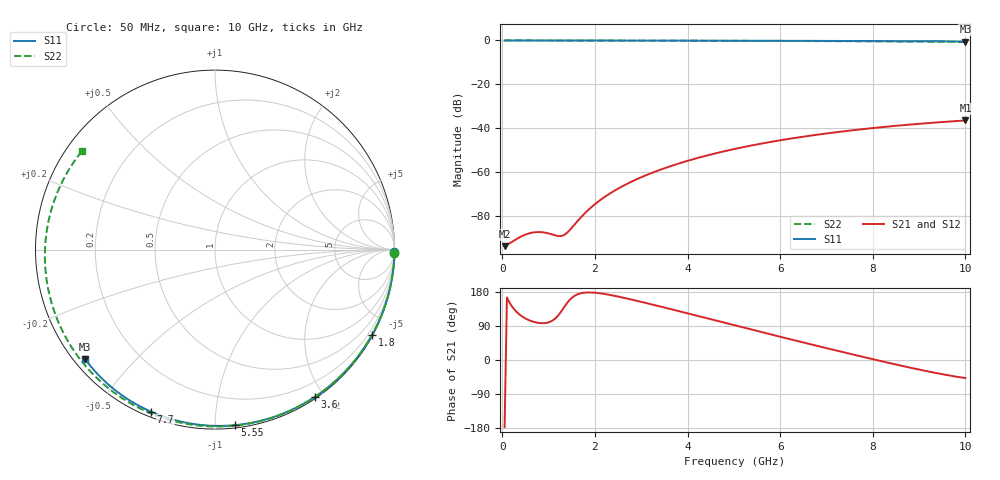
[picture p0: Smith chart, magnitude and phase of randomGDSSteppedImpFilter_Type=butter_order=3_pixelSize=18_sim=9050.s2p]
! freq	dB(S11)	phase(S11)	dB(S12)	phase(S12)
!  dB(S21)	phase(S21)	dB(S22)	phase(S22)
!S-par simulation data
#  GHz  S  DB  R 50
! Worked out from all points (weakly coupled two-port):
!   200 points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, 50 MHz to 10 GHz, reference 50 ohm
!   highest |S21| = -36.44 dB at 10 GHz (marker M1); lowest = -93.7 dB at 50 MHz (marker M2)
!   lowest |S11| = -0.5 dB at 10 GHz (marker M3), VSWR 36.43, Z = 1.56 - j18.3 ohm
!   |S11| at or under -10 dB: nowhere
!   |S22| runs from -0.7 to 0.0 dB; largest |S21 - S12| = 0
!   S11 on the Smith chart (normalised r, x): 50 MHz: open; 1.8 GHz: 0.03, -3.91; 3.6 GHz: 0.02, -1.88; 5.55 GHz: 0.02, -1.12; 7.7 GHz: 0.02, -0.68; 10 GHz: 0.03, -0.37
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0.05  -0.00 -0.8  -93.72 -176.7  -93.72 -176.7  -0.00 -1.1
0.85  -0.01 -13.7  -87.34 97.1  -87.34 97.1  -0.02 -19.4
1.7  -0.03 -27.1  -80.54 176.2  -80.54 176.2  -0.05 -38.4
1.75  -0.04 -27.9  -79.43 177.3  -79.43 177.3  -0.05 -39.5
1.8  -0.04 -28.7  -78.37 178.0  -78.37 178.0  -0.05 -40.6
2.1  -0.04 -33.3  -72.95 176.2  -72.95 176.2  -0.06 -47.1
2.45  -0.05 -38.7  -68.10 168.7  -68.10 168.7  -0.07 -54.7
2.9  -0.06 -45.6  -63.25 156.4  -63.25 156.4  -0.08 -64.3
3.4  -0.07 -53.0  -58.98 141.6  -58.98 141.6  -0.10 -74.7
3.6  -0.08 -56.0  -57.50 135.5  -57.50 135.5  -0.11 -78.9
4.3  -0.09 -66.1  -53.07 113.9  -53.07 113.9  -0.13 -93.1
5.05  -0.12 -76.7  -49.28 90.7  -49.28 90.7  -0.17 -108.1
5.55  -0.14 -83.5  -47.16 75.2  -47.16 75.2  -0.19 -118.0
6.1  -0.16 -90.9  -45.14 58.3  -45.14 58.3  -0.23 -128.8
6.7  -0.19 -98.7  -43.23 40.2  -43.23 40.2  -0.28 -140.8
7.2  -0.22 -105.1  -41.84 25.4  -41.84 25.4  -0.32 -150.9
7.7  -0.26 -111.5  -40.59 10.8  -40.59 10.8  -0.37 -161.3
8.35  -0.31 -119.6  -39.18 -7.7  -39.18 -7.7  -0.45 -175.4
8.8  -0.35 -125.1  -38.33 -20.0  -38.33 -20.0  -0.50 174.2
9.2  -0.39 -130.0  -37.64 -30.3  -37.64 -30.3  -0.56 164.6
9.6  -0.43 -134.9  -37.02 -39.7  -37.02 -39.7  -0.63 154.3
10  -0.48 -139.8  -36.44 -47.7  -36.44 -47.7  -0.71 143.4
